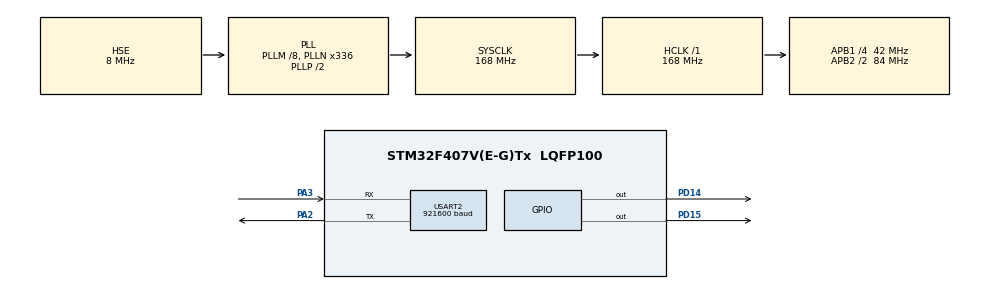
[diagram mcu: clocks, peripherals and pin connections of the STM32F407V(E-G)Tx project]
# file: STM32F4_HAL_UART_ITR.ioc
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Mcu.Family=STM32F4
Mcu.Name=STM32F407V(E-G)Tx
Mcu.Package=LQFP100
NVIC.PriorityGroup=NVIC_PRIORITYGROUP_0
NVIC.USART2_IRQn=true\:0\:0\:false\:false\:true\:true
PA2.Mode=Asynchronous
PA2.Signal=USART2_TX
PA3.Mode=Asynchronous
PA3.Signal=USART2_RX
PC14-OSC32_IN.Mode=LSE-External-Oscillator
PC14-OSC32_IN.Signal=RCC_OSC32_IN
PC15-OSC32_OUT.Mode=LSE-External-Oscillator
PC15-OSC32_OUT.Signal=RCC_OSC32_OUT
PD14.Signal=GPIO_Output
PD15.Signal=GPIO_Output
PH0-OSC_IN.Mode=HSE-External-Oscillator
PH0-OSC_IN.Signal=RCC_OSC_IN
PH1-OSC_OUT.Mode=HSE-External-Oscillator
PH1-OSC_OUT.Signal=RCC_OSC_OUT
ProjectManager.HeapSize=0x200
ProjectManager.StackSize=0x400
ProjectManager.TargetToolchain=MDK-ARM V5
RCC.48MHZClocksFreq_Value=48000000
RCC.AHBFreq_Value=168000000
RCC.APB1CLKDivider=RCC_HCLK_DIV4
RCC.APB1Freq_Value=42000000
RCC.APB1TimFreq_Value=84000000
RCC.APB2CLKDivider=RCC_HCLK_DIV2
RCC.APB2Freq_Value=84000000
RCC.APB2TimFreq_Value=168000000
RCC.CortexFreq_Value=168000000
RCC.HCLKFreq_Value=168000000
RCC.HSE_VALUE=8000000
RCC.HSI_VALUE=16000000
RCC.PLLM=8
RCC.PLLN=336
RCC.PLLQ=7
RCC.PLLSourceVirtual=RCC_PLLSOURCE_HSE
RCC.SYSCLKFreq_VALUE=168000000
RCC.SYSCLKSource=RCC_SYSCLKSOURCE_PLLCLK
RCC.VCOOutputFreq_Value=336000000
USART2.BaudRate=921600
USART2.VirtualMode=VM_ASYNC
board=STM32F4DISCOVERY

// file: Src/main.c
/**
  ******************************************************************************
  * @file           : main.c
  * @brief          : Main program body
  ******************************************************************************
  ** This notice applies to any and all portions of this file
  * that are not between comment pairs USER CODE BEGIN and
  * USER CODE END. Other portions of this file, whether
  * inserted by the user or by software development tools
  * are owned by their respective copyright owners.
  *
  * COPYRIGHT(c) 2019 STMicroelectronics
  *
  * Redistribution and use in source and binary forms, with or without modification,
  * are permitted provided that the following conditions are met:
  *   1. Redistributions of source code must retain the above copyright notice,
  *      this list of conditions and the following disclaimer.
  *   2. Redistributions in binary form must reproduce the above copyright notice,
  *      this list of conditions and the following disclaimer in the documentation
  *      and/or other materials provided with the distribution.
  *   3. Neither the name of STMicroelectronics nor the names of its contributors
  *      may be used to endorse or promote products derived from this software
  *      without specific prior written permission.
  *
  * THIS SOFTWARE IS PROVIDED BY THE COPYRIGHT HOLDERS AND CONTRIBUTORS "AS IS"
  * AND ANY EXPRESS OR IMPLIED WARRANTIES, INCLUDING, BUT NOT LIMITED TO, THE
  * IMPLIED WARRANTIES OF MERCHANTABILITY AND FITNESS FOR A PARTICULAR PURPOSE ARE
  * DISCLAIMED. IN NO EVENT SHALL THE COPYRIGHT HOLDER OR CONTRIBUTORS BE LIABLE
  * FOR ANY DIRECT, INDIRECT, INCIDENTAL, SPECIAL, EXEMPLARY, OR CONSEQUENTIAL
  * DAMAGES (INCLUDING, BUT NOT LIMITED TO, PROCUREMENT OF SUBSTITUTE GOODS OR
  * SERVICES; LOSS OF USE, DATA, OR PROFITS; OR BUSINESS INTERRUPTION) HOWEVER
  * CAUSED AND ON ANY THEORY OF LIABILITY, WHETHER IN CONTRACT, STRICT LIABILITY,
  * OR TORT (INCLUDING NEGLIGENCE OR OTHERWISE) ARISING IN ANY WAY OUT OF THE USE
  * OF THIS SOFTWARE, EVEN IF ADVISED OF THE POSSIBILITY OF SUCH DAMAGE.
  *
  ******************************************************************************
  */
#include "main.h"
#include "stm32f4xx_hal.h"

/* USER CODE BEGIN Includes */
#include "stdlib.h"
#include "string.h"
/* USER CODE END Includes */

UART_HandleTypeDef huart2;

/* USER CODE BEGIN PV */
/* Private variables ---------------------------------------------------------*/
uint8_t msg[MSG_SIZE];
uint32_t msgCount = 0;
bool msgFlag = false;
uint32_t noRESCount = 0;

/* USER CODE END PV */

void SystemClock_Config(void);
static void MX_GPIO_Init(void);
static void MX_USART2_UART_Init(void);

/* USER CODE BEGIN PFP */
/* Private function prototypes -----------------------------------------------*/

/* USER CODE END PFP */

/* USER CODE BEGIN 0 */
void SendREQ()
{
  uint8_t req[3] = {0xAA, 0xBB, 0xCC};
  HAL_UART_Receive_IT(&huart2, msg, MSG_SIZE);
  HAL_UART_Transmit(&huart2, req, sizeof(req), HAL_MAX_DELAY);
}

void RcvRES()
{
  if(msgFlag)
  {
    msgFlag = false;
    noRESCount = 0;

    if(msg[0] == 0x00 && msg[MSG_SIZE-1] == 0xFF)
    {
      msgCount++;

      /* Turn Off Error LED */
      HAL_GPIO_WritePin(GPIOD, GPIO_PIN_14, GPIO_PIN_RESET);
      /* Toggle RCV LED */
      HAL_GPIO_TogglePin(GPIOD, GPIO_PIN_15);
    }
    else
    {
      /* Turn On Error LED */
      HAL_GPIO_WritePin(GPIOD, GPIO_PIN_14, GPIO_PIN_SET);
    }

    SendREQ();
  }
  else
  {
    /* Slave 쪽이 Reset 된 경우 장기간 데이터가 수신되지 않으면 기존 동작을 취소하고 다시 SendREQ 를 수행한다. */
    noRESCount++;
    if(noRESCount > 500000)
    {
      noRESCount = 0;

      HAL_UART_AbortReceive_IT(&huart2);
      HAL_UART_AbortTransmit(&huart2);

      SendREQ();
    }
  }
}
/* USER CODE END 0 */

int main(void)
{

  /* MCU Configuration----------------------------------------------------------*/

  /* Reset of all peripherals, Initializes the Flash interface and the Systick. */
  HAL_Init();

  /* Configure the system clock */
  SystemClock_Config();

  /* Initialize all configured peripherals */
  MX_GPIO_Init();
  MX_USART2_UART_Init();
  /* USER CODE BEGIN 2 */
  SendREQ();

  /* USER CODE END 2 */

  /* Infinite loop */
  while (1)
  {

  /* USER CODE BEGIN 3 */
    RcvRES();
  }
  /* USER CODE END 3 */

}

void SystemClock_Config(void)
{

  RCC_OscInitTypeDef RCC_OscInitStruct;
  RCC_ClkInitTypeDef RCC_ClkInitStruct;

    /**Configure the main internal regulator output voltage
    */
  __HAL_RCC_PWR_CLK_ENABLE();

  __HAL_PWR_VOLTAGESCALING_CONFIG(PWR_REGULATOR_VOLTAGE_SCALE1);

    /**Initializes the CPU, AHB and APB busses clocks
    */
  RCC_OscInitStruct.OscillatorType = RCC_OSCILLATORTYPE_HSE;
  RCC_OscInitStruct.HSEState = RCC_HSE_ON;
  RCC_OscInitStruct.PLL.PLLState = RCC_PLL_ON;
  RCC_OscInitStruct.PLL.PLLSource = RCC_PLLSOURCE_HSE;
  RCC_OscInitStruct.PLL.PLLM = 8;
  RCC_OscInitStruct.PLL.PLLN = 336;
  RCC_OscInitStruct.PLL.PLLP = RCC_PLLP_DIV2;
  RCC_OscInitStruct.PLL.PLLQ = 7;
  if (HAL_RCC_OscConfig(&RCC_OscInitStruct) != HAL_OK)
  {
    _Error_Handler(__FILE__, __LINE__);
  }

    /**Initializes the CPU, AHB and APB busses clocks
    */
  RCC_ClkInitStruct.ClockType = RCC_CLOCKTYPE_HCLK|RCC_CLOCKTYPE_SYSCLK
                              |RCC_CLOCKTYPE_PCLK1|RCC_CLOCKTYPE_PCLK2;
  RCC_ClkInitStruct.SYSCLKSource = RCC_SYSCLKSOURCE_PLLCLK;
  RCC_ClkInitStruct.AHBCLKDivider = RCC_SYSCLK_DIV1;
  RCC_ClkInitStruct.APB1CLKDivider = RCC_HCLK_DIV4;
  RCC_ClkInitStruct.APB2CLKDivider = RCC_HCLK_DIV2;

  if (HAL_RCC_ClockConfig(&RCC_ClkInitStruct, FLASH_LATENCY_5) != HAL_OK)
  {
    _Error_Handler(__FILE__, __LINE__);
  }

    /**Configure the Systick interrupt time
    */
  HAL_SYSTICK_Config(HAL_RCC_GetHCLKFreq()/1000);

    /**Configure the Systick
    */
  HAL_SYSTICK_CLKSourceConfig(SYSTICK_CLKSOURCE_HCLK);

  /* SysTick_IRQn interrupt configuration */
  HAL_NVIC_SetPriority(SysTick_IRQn, 0, 0);
}

/* USART2 init function */
static void MX_USART2_UART_Init(void)
{

  huart2.Instance = USART2;
  huart2.Init.BaudRate = 921600;
  huart2.Init.WordLength = UART_WORDLENGTH_8B;
  huart2.Init.StopBits = UART_STOPBITS_1;
  huart2.Init.Parity = UART_PARITY_NONE;
  huart2.Init.Mode = UART_MODE_TX_RX;
  huart2.Init.HwFlowCtl = UART_HWCONTROL_NONE;
  huart2.Init.OverSampling = UART_OVERSAMPLING_16;
  if (HAL_UART_Init(&huart2) != HAL_OK)
  {
    _Error_Handler(__FILE__, __LINE__);
  }

}

/** Configure pins as
        * Analog
        * Input
        * Output
        * EVENT_OUT
        * EXTI
*/
static void MX_GPIO_Init(void)
{

  GPIO_InitTypeDef GPIO_InitStruct;

  /* GPIO Ports Clock Enable */
  __HAL_RCC_GPIOC_CLK_ENABLE();
  __HAL_RCC_GPIOH_CLK_ENABLE();
  __HAL_RCC_GPIOA_CLK_ENABLE();
  __HAL_RCC_GPIOD_CLK_ENABLE();

  /*Configure GPIO pin Output Level */
  HAL_GPIO_WritePin(GPIOD, GPIO_PIN_14|GPIO_PIN_15, GPIO_PIN_RESET);

  /*Configure GPIO pins : PD14 PD15 */
  GPIO_InitStruct.Pin = GPIO_PIN_14|GPIO_PIN_15;
  GPIO_InitStruct.Mode = GPIO_MODE_OUTPUT_PP;
  GPIO_InitStruct.Pull = GPIO_NOPULL;
  GPIO_InitStruct.Speed = GPIO_SPEED_FREQ_LOW;
  HAL_GPIO_Init(GPIOD, &GPIO_InitStruct);

}

void _Error_Handler(char *file, int line)
{
  while(1)
  {
  }
}

/************************ (C) COPYRIGHT STMicroelectronics *****END OF FILE****/
